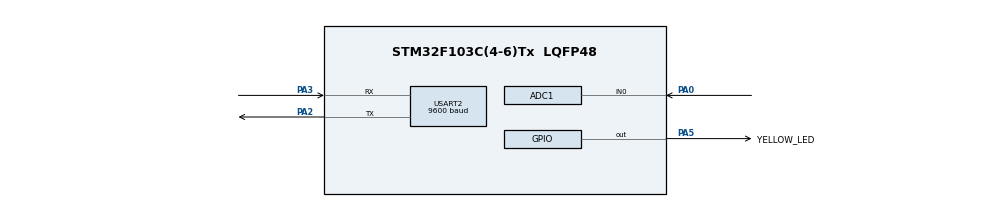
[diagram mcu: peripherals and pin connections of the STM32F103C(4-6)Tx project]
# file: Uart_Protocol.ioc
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ADC1.Channel-1\#ChannelRegularConversion=ADC_CHANNEL_0
ADC1.ContinuousConvMode=ENABLE
ADC1.NbrOfConversionFlag=1
ADC1.Rank-1\#ChannelRegularConversion=1
ADC1.SamplingTime-1\#ChannelRegularConversion=ADC_SAMPLETIME_1CYCLE_5
ADC1.master=1
Mcu.Family=STM32F1
Mcu.Name=STM32F103C(4-6)Tx
Mcu.Package=LQFP48
NVIC.PriorityGroup=NVIC_PRIORITYGROUP_4
NVIC.TIM2_IRQn=true\:0\:0\:false\:false\:true\:true\:true
NVIC.USART2_IRQn=true\:0\:0\:false\:false\:true\:true\:true
PA0-WKUP.Signal=ADCx_IN0
PA13.Mode=Serial_Wire
PA13.Signal=SYS_JTMS-SWDIO
PA14.Mode=Serial_Wire
PA14.Signal=SYS_JTCK-SWCLK
PA2.Mode=Asynchronous
PA2.Signal=USART2_TX
PA3.Mode=Asynchronous
PA3.Signal=USART2_RX
PA5.GPIO_Label=YELLOW_LED
PA5.Signal=GPIO_Output
ProjectManager.HeapSize=0x200
ProjectManager.StackSize=0x400
ProjectManager.TargetToolchain=STM32CubeIDE
RCC.APB1Freq_Value=8000000
RCC.APB2Freq_Value=8000000
SH.ADCx_IN0.0=ADC1_IN0,IN0
TIM2.Period=9
TIM2.Prescaler=7999
USART2.BaudRate=9600
USART2.VirtualMode=VM_ASYNC
VP_TIM2_VS_ClockSourceINT.Mode=Internal
board=custom

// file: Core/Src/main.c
/* USER CODE BEGIN Header */
/**
  ******************************************************************************
  * @file           : main.c
  * @brief          : Main program body
  ******************************************************************************
  * @attention
  *
  * <h2><center>&copy; Copyright (c) 2025 STMicroelectronics.
  * All rights reserved.</center></h2>
  *
  * This software component is licensed by ST under BSD 3-Clause license,
  * the "License"; You may not use this file except in compliance with the
  * License. You may obtain a copy of the License at:
  *                        opensource.org/licenses/BSD-3-Clause
  *
  ******************************************************************************
  */
/* USER CODE END Header */
#include "main.h"

/* USER CODE BEGIN Includes */
#include "check_rc.h"
#include "handle.h"
#include "software_timer.h"
/* USER CODE END Includes */

ADC_HandleTypeDef hadc1;

TIM_HandleTypeDef htim2;

UART_HandleTypeDef huart2;

void SystemClock_Config(void);
static void MX_GPIO_Init(void);
static void MX_ADC1_Init(void);
static void MX_USART2_UART_Init(void);
static void MX_TIM2_Init(void);

int main(void)
{

  /* MCU Configuration--------------------------------------------------------*/

  /* Reset of all peripherals, Initializes the Flash interface and the Systick. */
  HAL_Init();

  /* Configure the system clock */
  SystemClock_Config();

  /* Initialize all configured peripherals */
  MX_GPIO_Init();
  MX_ADC1_Init();
  MX_USART2_UART_Init();
  MX_TIM2_Init();
  /* USER CODE BEGIN 2 */
  uart_init();
  HAL_ADC_Start(&hadc1);
  HAL_TIM_Base_Start_IT(&htim2);
  setTimer(1, 500);
  /* USER CODE END 2 */

  /* Infinite loop */
  /* USER CODE BEGIN WHILE */
  while (1)
  {
	  if(getTimerFlag(1)){
		  HAL_GPIO_TogglePin(YELLOW_LED_GPIO_Port, YELLOW_LED_Pin);
		  setTimer(1, 500);
	  }

	  check_str_fsm();
	  uart_communication_fsm();
    /* USER CODE END WHILE */

  }
}

void SystemClock_Config(void)
{
  RCC_OscInitTypeDef RCC_OscInitStruct = {0};
  RCC_ClkInitTypeDef RCC_ClkInitStruct = {0};
  RCC_PeriphCLKInitTypeDef PeriphClkInit = {0};

  /** Initializes the RCC Oscillators according to the specified parameters
  * in the RCC_OscInitTypeDef structure.
  */
  RCC_OscInitStruct.OscillatorType = RCC_OSCILLATORTYPE_HSI;
  RCC_OscInitStruct.HSIState = RCC_HSI_ON;
  RCC_OscInitStruct.HSICalibrationValue = RCC_HSICALIBRATION_DEFAULT;
  RCC_OscInitStruct.PLL.PLLState = RCC_PLL_NONE;
  if (HAL_RCC_OscConfig(&RCC_OscInitStruct) != HAL_OK)
  {
    Error_Handler();
  }
  /** Initializes the CPU, AHB and APB buses clocks
  */
  RCC_ClkInitStruct.ClockType = RCC_CLOCKTYPE_HCLK|RCC_CLOCKTYPE_SYSCLK
                              |RCC_CLOCKTYPE_PCLK1|RCC_CLOCKTYPE_PCLK2;
  RCC_ClkInitStruct.SYSCLKSource = RCC_SYSCLKSOURCE_HSI;
  RCC_ClkInitStruct.AHBCLKDivider = RCC_SYSCLK_DIV1;
  RCC_ClkInitStruct.APB1CLKDivider = RCC_HCLK_DIV1;
  RCC_ClkInitStruct.APB2CLKDivider = RCC_HCLK_DIV1;

  if (HAL_RCC_ClockConfig(&RCC_ClkInitStruct, FLASH_LATENCY_0) != HAL_OK)
  {
    Error_Handler();
  }
  PeriphClkInit.PeriphClockSelection = RCC_PERIPHCLK_ADC;
  PeriphClkInit.AdcClockSelection = RCC_ADCPCLK2_DIV2;
  if (HAL_RCCEx_PeriphCLKConfig(&PeriphClkInit) != HAL_OK)
  {
    Error_Handler();
  }
}

static void MX_ADC1_Init(void)
{

  ADC_ChannelConfTypeDef sConfig = {0};

  /** Common config
  */
  hadc1.Instance = ADC1;
  hadc1.Init.ScanConvMode = ADC_SCAN_DISABLE;
  hadc1.Init.ContinuousConvMode = ENABLE;
  hadc1.Init.DiscontinuousConvMode = DISABLE;
  hadc1.Init.ExternalTrigConv = ADC_SOFTWARE_START;
  hadc1.Init.DataAlign = ADC_DATAALIGN_RIGHT;
  hadc1.Init.NbrOfConversion = 1;
  if (HAL_ADC_Init(&hadc1) != HAL_OK)
  {
    Error_Handler();
  }
  /** Configure Regular Channel
  */
  sConfig.Channel = ADC_CHANNEL_0;
  sConfig.Rank = ADC_REGULAR_RANK_1;
  sConfig.SamplingTime = ADC_SAMPLETIME_1CYCLE_5;
  if (HAL_ADC_ConfigChannel(&hadc1, &sConfig) != HAL_OK)
  {
    Error_Handler();
  }

}

static void MX_TIM2_Init(void)
{

  TIM_ClockConfigTypeDef sClockSourceConfig = {0};
  TIM_MasterConfigTypeDef sMasterConfig = {0};

  htim2.Instance = TIM2;
  htim2.Init.Prescaler = 7999;
  htim2.Init.CounterMode = TIM_COUNTERMODE_UP;
  htim2.Init.Period = 9;
  htim2.Init.ClockDivision = TIM_CLOCKDIVISION_DIV1;
  htim2.Init.AutoReloadPreload = TIM_AUTORELOAD_PRELOAD_DISABLE;
  if (HAL_TIM_Base_Init(&htim2) != HAL_OK)
  {
    Error_Handler();
  }
  sClockSourceConfig.ClockSource = TIM_CLOCKSOURCE_INTERNAL;
  if (HAL_TIM_ConfigClockSource(&htim2, &sClockSourceConfig) != HAL_OK)
  {
    Error_Handler();
  }
  sMasterConfig.MasterOutputTrigger = TIM_TRGO_RESET;
  sMasterConfig.MasterSlaveMode = TIM_MASTERSLAVEMODE_DISABLE;
  if (HAL_TIMEx_MasterConfigSynchronization(&htim2, &sMasterConfig) != HAL_OK)
  {
    Error_Handler();
  }

}

static void MX_USART2_UART_Init(void)
{

  huart2.Instance = USART2;
  huart2.Init.BaudRate = 9600;
  huart2.Init.WordLength = UART_WORDLENGTH_8B;
  huart2.Init.StopBits = UART_STOPBITS_1;
  huart2.Init.Parity = UART_PARITY_NONE;
  huart2.Init.Mode = UART_MODE_TX_RX;
  huart2.Init.HwFlowCtl = UART_HWCONTROL_NONE;
  huart2.Init.OverSampling = UART_OVERSAMPLING_16;
  if (HAL_UART_Init(&huart2) != HAL_OK)
  {
    Error_Handler();
  }

}

static void MX_GPIO_Init(void)
{
  GPIO_InitTypeDef GPIO_InitStruct = {0};

  /* GPIO Ports Clock Enable */
  __HAL_RCC_GPIOA_CLK_ENABLE();

  /*Configure GPIO pin Output Level */
  HAL_GPIO_WritePin(YELLOW_LED_GPIO_Port, YELLOW_LED_Pin, GPIO_PIN_RESET);

  /*Configure GPIO pin : YELLOW_LED_Pin */
  GPIO_InitStruct.Pin = YELLOW_LED_Pin;
  GPIO_InitStruct.Mode = GPIO_MODE_OUTPUT_PP;
  GPIO_InitStruct.Pull = GPIO_NOPULL;
  GPIO_InitStruct.Speed = GPIO_SPEED_FREQ_LOW;
  HAL_GPIO_Init(YELLOW_LED_GPIO_Port, &GPIO_InitStruct);

}

/* USER CODE BEGIN 4 */
void HAL_TIM_PeriodElapsedCallback(TIM_HandleTypeDef *htim){
	if(htim->Instance == TIM2){
		timeRun();
	}
}

/* USER CODE END 4 */

void Error_Handler(void)
{
  __disable_irq();
  while (1)
  {
  }
}

/************************ (C) COPYRIGHT STMicroelectronics *****END OF FILE****/
